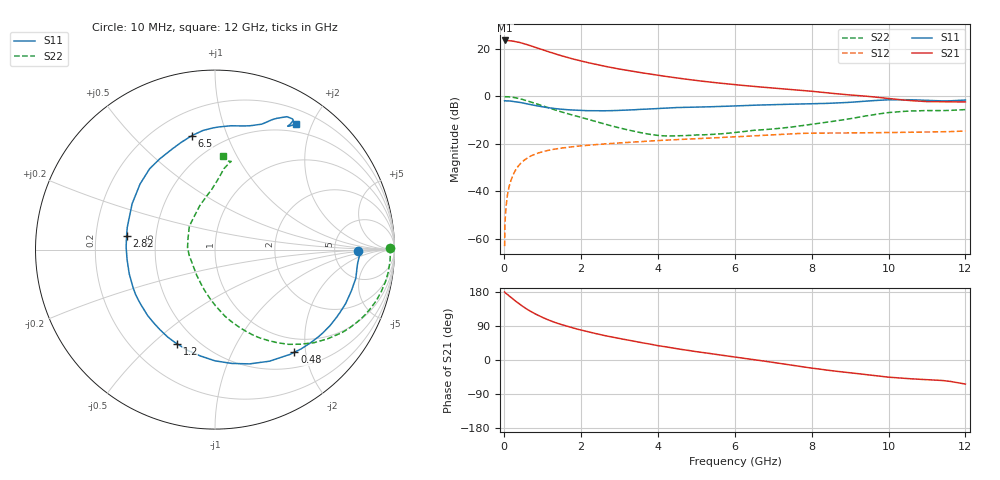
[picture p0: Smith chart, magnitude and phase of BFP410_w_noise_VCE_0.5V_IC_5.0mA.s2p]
! Infineon Technologies  Discrete & RF Semiconductors
! BFP410
! VCE =  0.5 V,  IC =  5.0 mA
! Common Emitter S-Parameters:  Nov 2015
# GHz  S  MA  R  50
!  f  S11  S21  S12  S22
! GHz  MAG  ANG  MAG  ANG  MAG  ANG  MAG  ANG
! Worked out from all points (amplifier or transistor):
!   243 points, 10 MHz to 12 GHz, reference 50 ohm
!   highest |S21| = 23.5 dB at 20 MHz (marker M1)
!   |S21| within 3 dB of that: start of sweep to 829.5 MHz
!   unconditionally stable (mu >= 1): 2.959 GHz to end of sweep
!   at 240 MHz: K = 0.11, MSG = 28.0 dB, |S12| = -32.8 dB
!   at 1.84 GHz: K = 0.67, MSG = 18.3 dB, |S12| = -21.1 dB
!   at 12 GHz: K = 1.04, MAG = 4.9 dB, |S12| = -14.6 dB
!   lowest NFmin = 1.00 dB at 900 MHz
!   S11 on the Smith chart (normalised r, x): 10 MHz: 8.88, -0.41; 480 MHz: 0.75, -1.79; 1.2 GHz: 0.39, -0.60; 2.82 GHz: 0.34, +0.07; 6.5 GHz: 0.35, +0.76; 12 GHz: 0.39, +1.77
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0.01  0.7979 -0.6  14.7 179.5  0.0007 121.5  0.9746 0.6
0.02  0.8061 -2.2  14.93 178.2  0.0022 86.9  0.9773 -1.2
0.08  0.7986 -9.2  14.84 173.0  0.0079 84.5  0.9752 -5.6
0.15  0.7938 -16.9  14.73 167.3  0.0147 81.1  0.9668 -10.6
0.3  0.7683 -33.5  14.13 155.0  0.0284 72.5  0.9261 -20.8
0.4  0.7443 -44.1  13.54 147.4  0.0365 67.4  0.8884 -27.1
0.48  0.7229 -52.3  13.01 141.8  0.0424 63.5  0.8545 -31.9
0.6  0.6918 -64.0  12.16 133.4  0.0501 58.3  0.8002 -38.4
0.8  0.6411 -81.6  10.76 122.0  0.0604 51.0  0.7102 -47.9
1  0.5982 -97.8  9.496 112.1  0.0682 45.3  0.6263 -56.0
1.2  0.5665 -112.0  8.41 103.6  0.0744 40.7  0.5541 -62.9
1.4  0.5413 -124.6  7.458 96.3  0.079 37.1  0.4918 -68.8
1.6  0.5248 -135.8  6.702 89.9  0.0832 34.2  0.4405 -74.0
2.02  0.5019 -156.1  5.47 78.5  0.0907 29.5  0.3556 -83.6
2.82  0.4983 171.5  3.971 60.2  0.1018 22.7  0.2348 -104.2
4.1  0.5584 136.8  2.691 36.4  0.118 14.4  0.1477 -150.7
5  0.5917 121.5  2.144 22.0  0.128 9.0  0.1533 176.1
6.1  0.6296 106.4  1.724 6.4  0.1412 2.6  0.1757 146.5
6.5  0.648 101.5  1.61 0.7  0.1467 0.1  0.1921 138.2
8.2  0.7007 79.7  1.225 -23.9  0.1677 -14.9  0.2705 105.8
10.2  0.8441 60.5  0.863 -46.8  0.173 -28.1  0.467 82.5
12  0.832 57.2  0.758 -63.5  0.1855 -40.6  0.5241 85.1
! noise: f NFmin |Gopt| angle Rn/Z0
0.45  1.02  0.27  4  0.25
0.9  1  0.24  16  0.19
1.8  1.16  0.15  54  0.17
2.4  1.16  0.15  52  0.2
5.5  2.1  0.32  -125  0.21
10  3.4  0.67  -52  1.79
